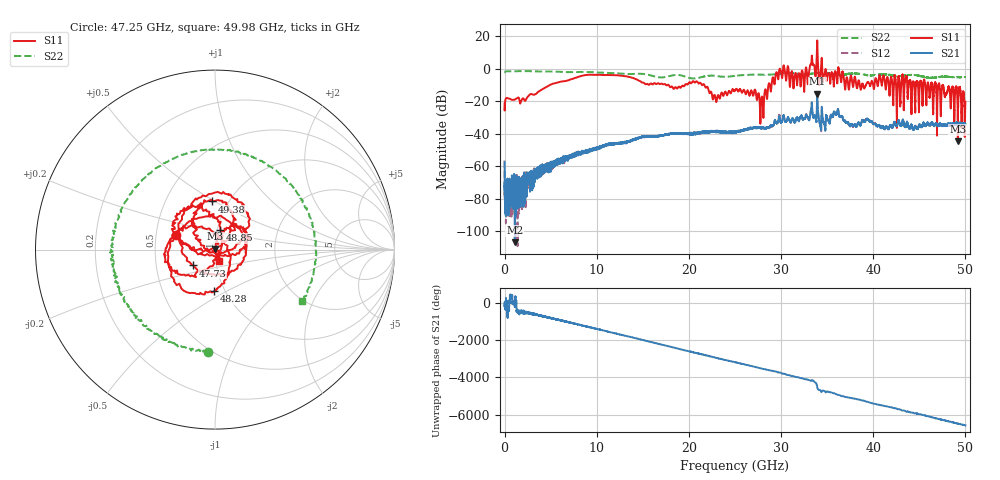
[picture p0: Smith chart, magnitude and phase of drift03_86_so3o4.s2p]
!Created with skrf (http://scikit-rf.org).
# Hz S RI R 50.0
!freq ReS11 ImS11 ReS21 ImS21 ReS12 ImS12 ReS22 ImS22
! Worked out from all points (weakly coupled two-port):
!   10001 points, 300 kHz to 50 GHz, reference 50 ohm
!   highest |S21| = -15.23 dB at 33.92 GHz (marker M1); lowest = -106.7 dB at 1.11 GHz (marker M2)
!   lowest |S11| = -44.6 dB at 49.18 GHz (marker M3), VSWR 1.01, Z = 50.2 + j0.56 ohm
!   |S11| at or under -10 dB: start of sweep to 4.849 GHz; 21.69 GHz to 28.62 GHz (6.934 GHz wide, 27.6 % of centre); 47.56 GHz to end of sweep (the widest 3 of 44)
!   |S22| runs from -5.9 to -1.3 dB; largest |S21 - S12| = 0.018
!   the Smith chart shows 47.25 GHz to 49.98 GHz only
!   S11 on the Smith chart (normalised r, x): 47.25 GHz: 0.63, +0.11; 47.73 GHz: 0.77, -0.14; 48.28 GHz: 0.89, -0.44; 48.85 GHz: 1.04, +0.23; 49.38 GHz: 0.84, +0.48; 49.98 GHz: 1.03, -0.13
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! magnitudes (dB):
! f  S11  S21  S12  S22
! 300 kHz  -21.2  -57.4  -56.3  -2.1
! 265.3 MHz  -17.9  -79.6  -74.9  -1.4
! 1.11 GHz  -18.9  -106.7  -68.6  -1.5
! 8.335 GHz  -4.3  -52.1  -51.7  -1.9
! 16.67 GHz  -8.8  -41.3  -41.5  -5.1
! 21.01 GHz  -8.7  -38.9  -39.4  -5.6
! 22.81 GHz  -16.1  -38.9  -38.6  -4.2
! 25 GHz  -13.4  -38.8  -39.0  -4.3
! 27.92 GHz  -17.1  -36.3  -36.6  -3.5
! 29.69 GHz  -6.4  -32.0  -31.5  -3.1
! 32.32 GHz  -1.5  -30.3  -30.7  -3.3
! 33.34 GHz  8.1  -20.5  -20.8  -2.9
! 33.92 GHz  17.5  -15.2  -15.6  -2.4
! 41.67 GHz  -9.1  -37.0  -36.6  -3.6
! 47.25 GHz  -12.7  -34.4  -33.8  -4.9
! 47.73 GHz  -16.4  -34.4  -34.2  -4.7
! 48.28 GHz  -12.7  -34.2  -34.1  -5.0
! 48.85 GHz  -18.9  -33.7  -33.5  -5.0
! 49.18 GHz  -44.6  -33.5  -34.0  -5.1
! 49.38 GHz  -11.4  -32.9  -33.7  -5.1
! 49.98 GHz  -23.5  -33.9  -33.8  -5.0
! 50 GHz  -20.3  -34.4  -34.1  -4.9
